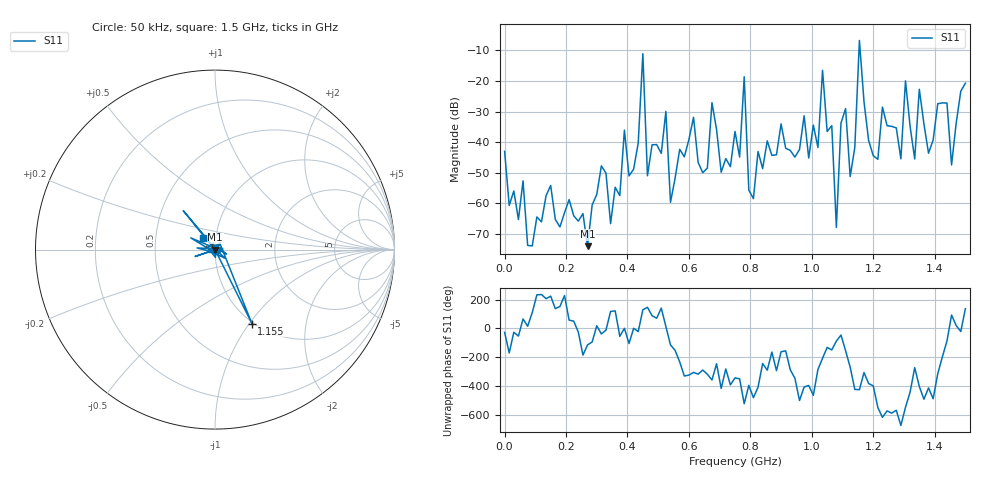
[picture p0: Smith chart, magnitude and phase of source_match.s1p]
! Created with skrf 1.8.0 (http://scikit-rf.org).
# Hz S RI R 50.0
!freq ReS11 ImS11
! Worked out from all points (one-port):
!   101 points, 50 kHz to 1.5 GHz, reference 50 ohm
!   lowest |S11| = -74.0 dB at 270 MHz (marker M1), VSWR 1.00, Z = 50 - j0.0183 ohm
!   |S11| at or under -10 dB: start of sweep to 1.154 GHz; 1.157 GHz to end of sweep
!   S11 on the Smith chart (normalised r, x): 50 kHz: 1.01, -0.01; 1.155 GHz: 0.98, -1.03; 1.5 GHz: 0.87, +0.11
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50000  0.00632 -0.00322
7.50475e7  0.000198 5.49e-05
1.950435e8  -0.000473 -0.000518
2.70041e8  -7.91e-05 -0.000183
3.150395e8  0.00324 -0.00251
3.750375e8  0.000784 -0.00108
3.90037e8  0.0158 0.000286
4.350355e8  0.00905 -0.00358
4.50035e8  -0.1767 0.2167
4.650345e8  -0.00236 0.00156
5.70031e8  -0.00478 0.00597
7.50025e8  0.0142 0.00465
7.650245e8  0.00561 0.00114
7.80024e8  -0.1108 -0.0382
7.950235e8  0.00137 -0.00091
8.10023e8  -0.000572 -0.00105
9.450185e8  0.0055 0.00152
1.020016e9  0.00193 0.00796
1.035016e9  -0.1347 0.0652
1.080014e9  1.99e-05 -0.000404
1.095014e9  0.0144 -0.0147
1.125012e9  -7.51e-05 0.00274
1.155012e9  0.2054 -0.4118
1.20001e9  0.0048 -0.00363
1.320006e9  0.00308 -0.0179
1.440002e9  0.00282 -0.0435
1.455002e9  -0.00021 0.00424
1.5e9  -0.067 0.0633
